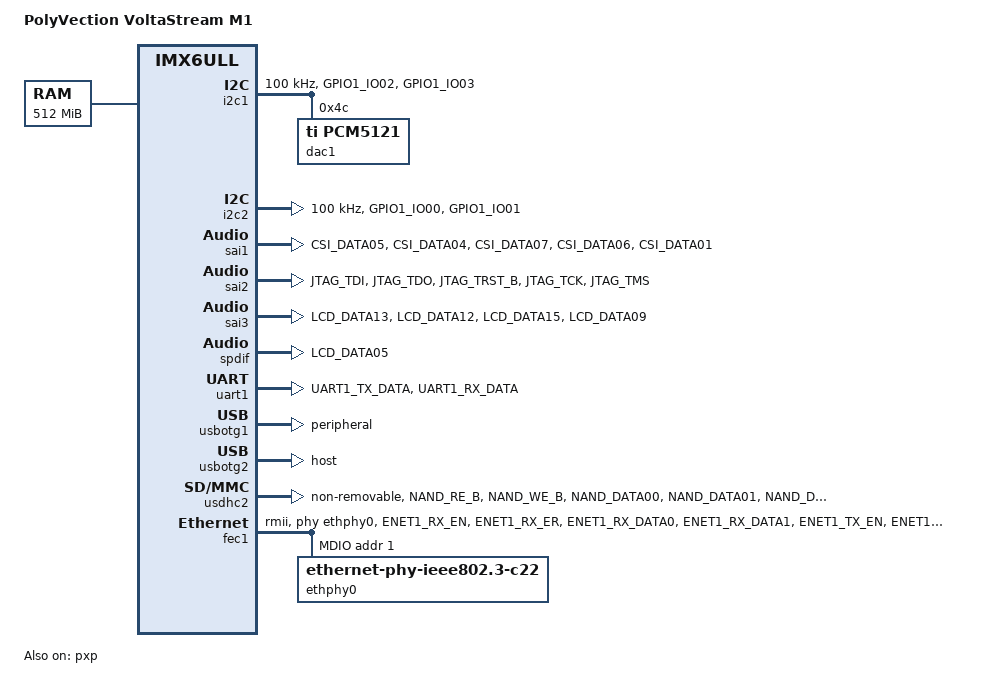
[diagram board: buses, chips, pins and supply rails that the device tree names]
/*
 * Copyright (C) 2016 Freescale Semiconductor, Inc.
 *
 * This program is free software; you can redistribute it and/or modify
 * it under the terms of the GNU General Public License version 2 as
 * published by the Free Software Foundation.
 */

/dts-v1/;

#include <dt-bindings/input/input.h>
#include "imx6ull.dtsi"

/ {
	model = "PolyVection VoltaStream M1";
	compatible = "polyvection,vsm1", "fsl,imx6ull";

	chosen {
		stdout-path = &uart1;
	};

	memory {
		reg = <0x80000000 0x20000000>;
	};

	reserved-memory {
		#address-cells = <1>;
		#size-cells = <1>;
		ranges;

		linux,cma {
			compatible = "shared-dma-pool";
			reusable;
			size = <0x14000000>;
			linux,cma-default;
		};
	};

	regulators {
		compatible = "simple-bus";
		#address-cells = <1>;
		#size-cells = <0>;
	};

	sound-spdif {
		compatible = "fsl,imx-audio-spdif";
		model = "imx-spdif";
		spdif-controller = <&spdif>;
		spdif-out;
	};

	sound1 {
		compatible = "polyvection,imx-audio-pcm512x";
		model = "pcm5121";
		cpu-dai = <&sai3>;
		gpr = <&gpr 4 0x100000 0x100000>;
		asrc-controller = <&asrc>;
		audio-codec = <&dac1>;
		audio-routing =
			"CPU-Playback", "ASRC-Playback",
			"Playback", "CPU-Playback";
		status = "okay";
	};

};

&cpu0 {
	arm-supply = <&reg_arm>;
	soc-supply = <&reg_soc>;
};

&clks {
	assigned-clocks = <&clks IMX6UL_CLK_PLL4_AUDIO_DIV>;
	assigned-clock-rates = <786432000>;	
};

&gpc {
	fsl,cpu_pupscr_sw2iso = <0x1>;
	fsl,cpu_pupscr_sw = <0x0>;
	fsl,cpu_pdnscr_iso2sw = <0x1>;
	fsl,cpu_pdnscr_iso = <0x1>;
	fsl,ldo-bypass = <0>; /* DCDC, ldo-enable */
};

&i2c1 {
	clock-frequency = <100000>;
	pinctrl-names = "default";
	pinctrl-0 = <&pinctrl_i2c1>;
	status = "okay";

    dac1: pcm5121@4c {
        #sound-dai-cells = <0>;
        compatible = "ti,pcm5121";
        reg = <0x4c>;
        clocks = <&clks IMX6UL_CLK_SAI3>;
        status = "okay";
    };
};

&i2c2 {
	clock-frequency = <100000>;
	pinctrl-names = "default";
	pinctrl-0 = <&pinctrl_i2c2>;
	status = "okay";
};


&pxp {
	status = "okay";
};

&sai1 {
	pinctrl-names = "default";
	pinctrl-0 = <&pinctrl_sai1>;

	assigned-clocks = <&clks IMX6UL_CLK_SAI1_SEL>,
			  <&clks IMX6UL_CLK_SAI1>;
	assigned-clock-parents = <&clks IMX6UL_CLK_PLL4_AUDIO_DIV>;
	assigned-clock-rates = <0>, <12288000>;
	status = "okay";
};


&sai2 {
	pinctrl-names = "default";
	pinctrl-0 = <&pinctrl_sai2>;

	assigned-clocks = <&clks IMX6UL_CLK_SAI2_SEL>,
			  <&clks IMX6UL_CLK_SAI2>;
	assigned-clock-parents = <&clks IMX6UL_CLK_PLL4_AUDIO_DIV>;
	assigned-clock-rates = <0>, <12288000>;
	fsl,sai2-mclk-direction-output;
	status = "okay";
};

&sai3 {
	pinctrl-names = "default";
	pinctrl-0 = <&pinctrl_sai3>;

	assigned-clocks = <&clks IMX6UL_CLK_SAI3_SEL>,
			  <&clks IMX6UL_CLK_SAI3>;
	assigned-clock-parents = <&clks IMX6UL_CLK_PLL4_AUDIO_DIV>;
	assigned-clock-rates = <0>, <12288000>;
	fsl,sai3-mclk-direction-output;
	status = "okay";
};

&spdif {
	pinctrl-names = "default";
	pinctrl-0 = <&pinctrl_spdif_out>;
	status = "okay";
};

&uart1 {
	pinctrl-names = "default";
	pinctrl-0 = <&pinctrl_uart1>;
	status = "okay";
};

&usbotg1 {
	dr_mode = "peripheral";
	srp-disable;
	hnp-disable;
	adp-disable;
	status = "okay";
};

&usbotg2 {
	dr_mode = "host";
	disable-over-current;
	status = "okay";
};

&usbphy1 {
	tx-d-cal = <0x5>;
};

&usbphy2 {
	tx-d-cal = <0x5>;
};

&usdhc2 {
	pinctrl-names = "default";
	pinctrl-0 = <&pinctrl_usdhc2>;
	non-removable;
	status = "okay";
};

&fec1 {
    pinctrl-names = "default";
    pinctrl-0 = <&pinctrl_enet1>;
    phy-mode = "rmii";
    phy-handle = <&ethphy0>;
    status = "okay";

    mdio {
        #address-cells = <1>;
        #size-cells = <0>;

        ethphy0: ethernet-phy@1 {
            compatible = "ethernet-phy-ieee802.3-c22";
            reg = <1>;
        };
    };
};

&iomuxc {
	pinctrl-names = "default";
	pinctrl-0 = <&pinctrl_hog_1>;
	imx6ul-evk {

		pinctrl_hog_1: hoggrp-1 {
			fsl,pins = <
				MX6UL_PAD_SNVS_TAMPER0__GPIO5_IO00	0x80000000
				MX6UL_PAD_LCD_DATA07__GPIO3_IO12 	0x4001f8b0 /* PCM MUTE PULL UP */
                MX6UL_PAD_UART3_RTS_B__GPIO1_IO27   0x4001f8b0 /* ETH RST PULL UP */
			>;
		};

        pinctrl_enet1: enet1grp {
            fsl,pins = <
                MX6UL_PAD_ENET1_RX_EN__ENET1_RX_EN          0x1b0b0
                MX6UL_PAD_ENET1_RX_ER__ENET1_RX_ER          0x1b0b0
                MX6UL_PAD_ENET1_RX_DATA0__ENET1_RDATA00     0x1b0b0
                MX6UL_PAD_ENET1_RX_DATA1__ENET1_RDATA01     0x1b0b0
                MX6UL_PAD_ENET1_TX_EN__ENET1_TX_EN          0x1b0b0
                MX6UL_PAD_ENET1_TX_DATA0__ENET1_TDATA00     0x1b0b0
                MX6UL_PAD_ENET1_TX_DATA1__ENET1_TDATA01     0x1b0b0
                MX6UL_PAD_ENET1_TX_CLK__ENET1_REF_CLK1      0x4001b031
                MX6UL_PAD_GPIO1_IO07__ENET1_MDC             0x1b0b0
                MX6UL_PAD_GPIO1_IO06__ENET1_MDIO            0x1b0b0
            >;
        };

		pinctrl_i2c1: i2c1grp {
			fsl,pins = <
				MX6UL_PAD_GPIO1_IO02__I2C1_SCL 0x4001b8b0
				MX6UL_PAD_GPIO1_IO03__I2C1_SDA 0x4001b8b0
			>;
		};

		pinctrl_i2c2: i2c2grp {
			fsl,pins = <
				MX6UL_PAD_GPIO1_IO00__I2C2_SCL 0x4001b8b0
				MX6UL_PAD_GPIO1_IO01__I2C2_SDA  0x4001b8b0
			>;
		};

		pinctrl_sai1: sai1grp {
			fsl,pins = <
				MX6UL_PAD_CSI_DATA05__SAI1_TX_BCLK	0x11088
				MX6UL_PAD_CSI_DATA04__SAI1_TX_SYNC	0x11088
				MX6UL_PAD_CSI_DATA07__SAI1_TX_DATA	0x11088
				MX6UL_PAD_CSI_DATA06__SAI1_RX_DATA	0x11088
				MX6UL_PAD_CSI_DATA01__SAI1_MCLK		0x11088
			>;
		};

		pinctrl_sai2: sai2grp {
			fsl,pins = <
				MX6UL_PAD_JTAG_TDI__SAI2_TX_BCLK	0x17088
				MX6UL_PAD_JTAG_TDO__SAI2_TX_SYNC	0x17088
				MX6UL_PAD_JTAG_TRST_B__SAI2_TX_DATA	0x11088
				MX6UL_PAD_JTAG_TCK__SAI2_RX_DATA	0x11088
				MX6UL_PAD_JTAG_TMS__SAI2_MCLK		0x17088
			>;
		};

		pinctrl_sai3: sai3grp {
			fsl,pins = <
				MX6UL_PAD_LCD_DATA13__SAI3_TX_BCLK	0x17088
				MX6UL_PAD_LCD_DATA12__SAI3_TX_SYNC	0x17088
				MX6UL_PAD_LCD_DATA15__SAI3_TX_DATA	0x11088
				MX6UL_PAD_LCD_DATA09__SAI3_MCLK 	0x17088
			>;
		};
		
		pinctrl_spdif_out: spdifgrp-out {
			fsl,pins = <
				MX6UL_PAD_LCD_DATA05__SPDIF_OUT     	0x1b0b0
			>;
		};

		pinctrl_uart1: uart1grp {
			fsl,pins = <
				MX6UL_PAD_UART1_TX_DATA__UART1_DCE_TX 0x1b0b1
				MX6UL_PAD_UART1_RX_DATA__UART1_DCE_RX 0x1b0b1
			>;
		};

		pinctrl_usdhc2: usdhc2grp {
			fsl,pins = <
				MX6UL_PAD_NAND_RE_B__USDHC2_CLK     0x10069
				MX6UL_PAD_NAND_WE_B__USDHC2_CMD     0x17059
				MX6UL_PAD_NAND_DATA00__USDHC2_DATA0 0x17059
				MX6UL_PAD_NAND_DATA01__USDHC2_DATA1 0x17059
				MX6UL_PAD_NAND_DATA02__USDHC2_DATA2 0x17059
				MX6UL_PAD_NAND_DATA03__USDHC2_DATA3 0x17059
			>;
		};
	};
};
